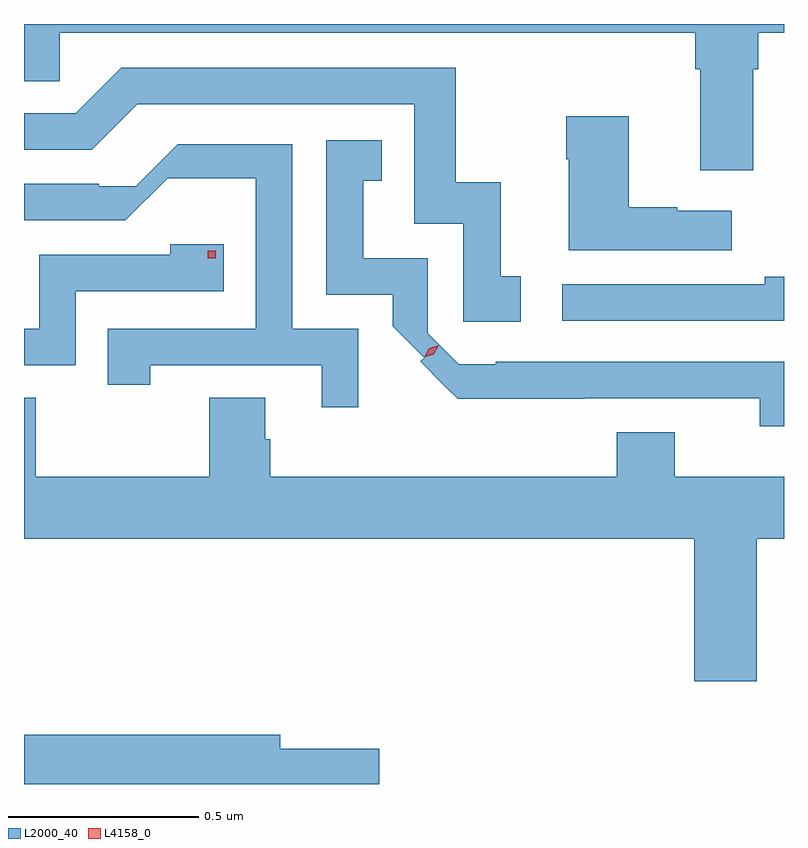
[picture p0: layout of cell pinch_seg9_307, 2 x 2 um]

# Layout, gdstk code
import gdstk
lib = gdstk.Library(unit=1e-6, precision=1e-09)
def R(c, l, rs):  # rectangles x0, y0, x1, y1
    for r in rs: c.add(gdstk.rectangle(r[:2], r[2:], *l))
def P(c, l, *ps):  # polygons
    for p in ps: c.add(gdstk.Polygon(p, *l))
L2000_40 = (2000, 40)
L4158_0 = (4158, 0)

pinch_seg9_307 = lib.new_cell('pinch_seg9_307')
P(pinch_seg9_307, L2000_40, [(512.815,1189.664),(512.828,1189.664),(512.828,1189.76),(512.896,1189.76),(512.896,1189.783),(510.896,1189.783),(510.896,1189.633),(510.99,1189.633),(510.99,1189.76),(512.663,1189.76),(512.663,1189.664),(512.675,1189.664),(512.675,1189.398),(512.815,1189.398)],
  [(512.203,1189.119),(512.15,1189.119),(512.15,1189.366),(512.032,1189.366),(512.032,1189.668),(511.152,1189.668),(511.032,1189.548),(510.896,1189.548),(510.896,1189.452),(511.074,1189.452),(511.194,1189.572),(511.923,1189.572),(511.923,1189.257),(512.052,1189.257),(512.052,1188.999),(512.203,1188.999)],
  [(512.758,1189.291),(512.615,1189.291),(512.615,1189.301),(512.488,1189.301),(512.488,1189.54),(512.323,1189.54),(512.323,1189.427),(512.33,1189.427),(512.33,1189.187),(512.758,1189.187)],
  [(512.896,1188.894),(512.137,1188.894),(512.137,1188.888),(512.04,1188.888),(511.959,1188.969),(511.959,1189.167),(511.789,1189.167),(511.789,1189.371),(511.838,1189.371),(511.838,1189.477),(511.692,1189.477),(511.692,1189.071),(511.866,1189.071),(511.866,1188.988),(511.949,1188.905),(511.939,1188.895),(512.005,1188.828),(512.037,1188.797),(512.372,1188.797),(512.372,1188.798),(512.832,1188.798),(512.832,1188.725),(512.896,1188.725)],
  [(511.776,1188.981),(511.602,1188.981),(511.602,1189.467),(511.301,1189.467),(511.19,1189.356),(511.093,1189.356),(511.093,1189.362),(510.896,1189.362),(510.896,1189.266),(511.163,1189.266),(511.274,1189.377),(511.506,1189.377),(511.506,1188.981),(511.117,1188.981),(511.117,1188.834),(511.228,1188.834),(511.228,1188.885),(511.679,1188.885),(511.679,1188.774),(511.776,1188.774)],
  [(511.032,1189.08),(511.421,1189.08),(511.421,1189.204),(511.281,1189.204),(511.281,1189.176),(510.936,1189.176),(510.936,1188.981),(510.896,1188.981),(510.896,1188.885),(511.032,1188.885)],
  [(512.896,1189.118),(512.845,1189.118),(512.845,1189.098),(512.313,1189.098),(512.313,1189.002),(512.896,1189.002)],
  [(512.824,1188.428),(512.896,1188.428),(512.896,1188.592),(512.608,1188.592),(512.608,1188.709),(512.456,1188.709),(512.456,1188.592),(511.544,1188.592),(511.544,1188.69),(511.531,1188.69),(511.531,1188.8),(511.384,1188.8),(511.384,1188.592),(510.927,1188.592),(510.927,1188.8),(510.896,1188.8),(510.896,1188.428),(512.66,1188.428),(512.66,1188.054),(512.824,1188.054)],
  [(511.831,1187.876),(511.57,1187.876),(511.57,1187.912),(510.896,1187.912),(510.896,1187.783),(511.831,1187.783)])
R(pinch_seg9_307, L4158_0, [(511.38,1189.166,511.4,1189.186)])
P(pinch_seg9_307, L4158_0, [(511.949,1188.906),(511.949,1188.906),(511.962,1188.93),(511.987,1188.938),(511.988,1188.938),(511.988,1188.937),(511.974,1188.914),(511.949,1188.906)])

lib.write_gds('pinch_seg9_307.gds')
